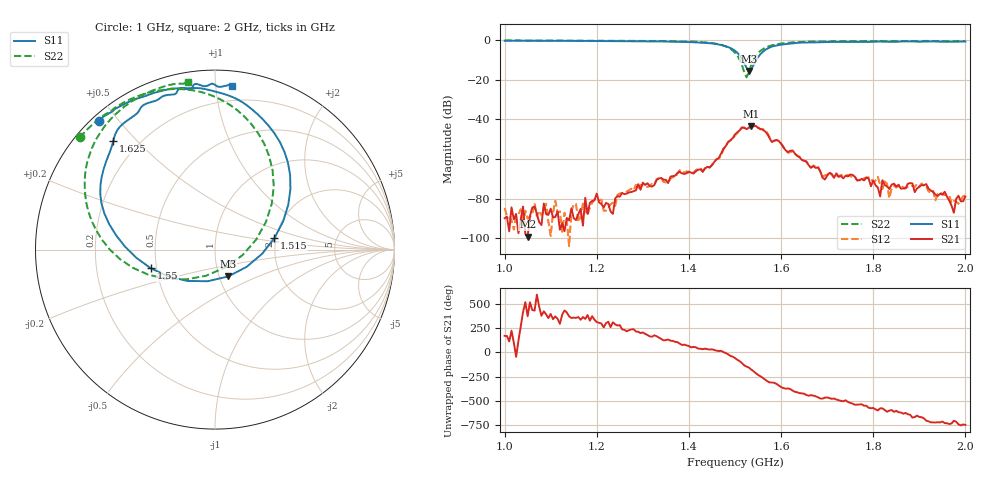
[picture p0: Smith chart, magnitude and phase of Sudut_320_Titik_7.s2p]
# Hz S RI R 50
! CMT, C1220, 16058040, 17.2.0/1
! Date: 14/08/2018 12:16:56
! Data: Format (Calibration Info)
! Freq  S11: Re/Im (F2)  S21: Re/Im (F2)  S12: Re/Im (F2)  S22: Re/Im (F2)
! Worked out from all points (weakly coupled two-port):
!   201 points, 1 GHz to 2 GHz, reference 50 ohm
!   highest |S21| = -43.22 dB at 1.535 GHz (marker M1); lowest = -99.0 dB at 1.05 GHz (marker M2)
!   lowest |S11| = -15.6 dB at 1.53 GHz (marker M3), VSWR 1.40, Z = 55.1 - j17 ohm
!   |S11| at or under -10 dB: 1.516 GHz to 1.546 GHz (29.89 MHz wide, 1.95 % of centre)
!   |S22| runs from -18.8 to -0.2 dB; largest |S21 - S12| = 0.00031
!   S11 on the Smith chart (normalised r, x): 1 GHz: 0.02, +0.44; 1.515 GHz: 1.96, +0.29; 1.55 GHz: 0.47, -0.11; 1.625 GHz: 0.11, +0.43; 2 GHz: 0.09, +1.11
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1e9  -0.6484 0.7145  -3.2e-05 4.95e-06  -2.61e-05 5.29e-05  -0.7537 0.6249
1.05e9  -0.6101 0.7477  1.09e-05 2.64e-06  -2.16e-05 2.35e-05  -0.7188 0.662
1.17e9  -0.4803 0.823  2.1e-05 2.04e-06  7.21e-05 -2.32e-05  -0.6167 0.7505
1.335e9  -0.2224 0.898  -0.000288 0.000151  -0.000282 0.00018  -0.4007 0.8652
1.43e9  0.0903 0.8532  0.000396 0.000263  0.000452 0.000242  -0.0934 0.8815
1.5e9  0.4202 0.337  0.00223 -0.00358  0.00207 -0.00336  0.3274 0.3528
1.515e9  0.3315 0.0644  -0.00213 -0.00586  -0.002 -0.00598  0.2297 0.0561
1.53e9  0.0725 -0.1498  -0.00561 -0.00253  -0.00569 -0.00257  -0.0502 -0.1458
1.535e9  -0.0405 -0.1762  -0.00688 -0.000489  -0.0069 -0.000469  -0.1633 -0.1664
1.55e9  -0.3567 -0.1046  -0.00384 0.00487  -0.00395 0.00475  -0.4585 -0.1009
1.625e9  -0.5665 0.6044  0.00137 -0.000926  0.00136 -0.000801  -0.7018 0.5204
1.67e9  -0.4478 0.748  4.03e-05 -0.000665  2.91e-05 -0.000692  -0.6256 0.6721
1.695e9  -0.4115 0.7932  -9.06e-05 -0.000293  -8.84e-05 -0.000378  -0.5844 0.7229
1.81e9  -0.1963 0.8963  -9.95e-05 0.000165  -0.00013 0.000332  -0.411 0.857
1.815e9  -0.1877 0.8983  -8.99e-05 7.13e-05  -0.000173 0.000146  -0.4039 0.8605
1.82e9  -0.1774 0.8979  -0.000231 0.000183  -0.000108 0.00014  -0.397 0.8636
1.83e9  -0.1546 0.8936  -6.04e-05 0.000197  -0.000157 0.00018  -0.3837 0.8703
1.835e9  -0.1444 0.891  -8.71e-05 0.000154  -8.83e-06 0.000104  -0.3771 0.8736
1.845e9  -0.1313 0.892  -6.65e-05 0.000232  -4.99e-05 0.000209  -0.3635 0.8801
1.905e9  -0.0475 0.9117  0.000141 0.000172  0.000194 0.000146  -0.2789 0.9107
1.935e9  -0.00724 0.9223  0.000128 -9.51e-06  9.03e-05 1.52e-05  -0.2364 0.9208
2e9  0.0955 0.9142  9.89e-05 -5.48e-05  0.000107 -5.62e-05  -0.1528 0.9329
